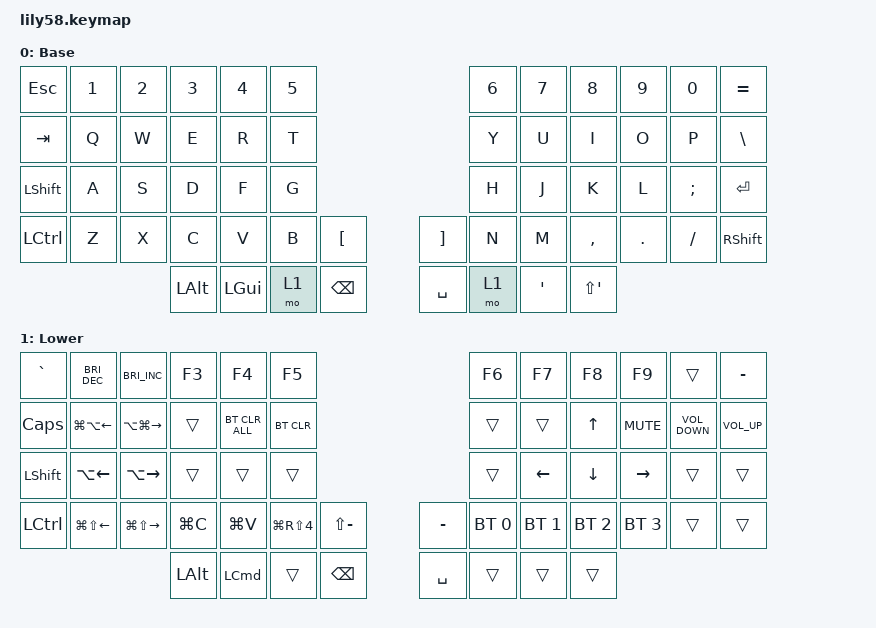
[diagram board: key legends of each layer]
/*
 * Copyright (c) 2020 The ZMK Contributors
 *
 * SPDX-License-Identifier: MIT
 */

#include <behaviors.dtsi>
#include <dt-bindings/zmk/bt.h>
#include <dt-bindings/zmk/keys.h>

/ {
    keymap {
        compatible = "zmk,keymap";

        default_layer {
            // ------------------------------------------------------------------------------------------------------------
            // |  ESC  |  1  |  2  |  3   |  4   |  5   |                   |  6   |  7    |  8    |  9   |   0   |   `   |
            // |  TAB  |  Q  |  W  |  E   |  R   |  T   |                   |  Y   |  U    |  I    |  O   |   P   |   -   |
            // |  CTRL |  A  |  S  |  D   |  F   |  G   |                   |  H   |  J    |  K    |  L   |   ;   |   '   |
            // | SHIFT |  Z  |  X  |  C   |  V   |  B   |   "["  |  |  "]"  |  N   |  M    |  ,    |  .   |   /   | SHIFT |
            //                     | ALT  | GUI  | LOWER|  SPACE |  | ENTER | RAISE| BSPC  | GUI   |

            display-name = "Base";
            bindings = <
&kp ESC           &kp N1  &kp N2  &kp N3    &kp N4    &kp N5                                         &kp N6  &kp N7   &kp N8       &kp N9   &kp N0    &kp EQUAL
&kp TAB           &kp Q   &kp W   &kp E     &kp R     &kp T                                          &kp Y   &kp U    &kp I        &kp O    &kp P     &kp BACKSLASH
&kp LEFT_SHIFT    &kp A   &kp S   &kp D     &kp F     &kp G                                          &kp H   &kp J    &kp K        &kp L    &kp SEMI  &kp RET
&kp LEFT_CONTROL  &kp Z   &kp X   &kp C     &kp V     &kp B   &kp LEFT_BRACKET    &kp RIGHT_BRACKET  &kp N   &kp M    &kp COMMA    &kp DOT  &kp FSLH  &kp RSHFT
                                  &kp LALT  &kp LGUI  &mo 1   &kp BACKSPACE       &kp SPACE          &mo 1   &kp SQT  &kp LS(SQT)
            >;
        };

        lower_layer {
            // ------------------------------------------------------------------------------------------------------------
            // | BTCLR | BT1 | BT2 |  BT3 |  BT4 |  BT5 |                   |      |       |       |      |       |       |
            // |  F1   |  F2 |  F3 |  F4  |  F5  |  F6  |                   |  F7  |  F8   |  F9   |  F10 |  F11  |  F12  |
            // |   `   |  !  |  @  |  #   |  $   |  %   |                   |  ^   |  &    |  *    |  (   |   )   |   ~   |
            // |       |     |     |      |      |      |        |  |       |      |  _    |  +    |  {   |   }   |  "|"  |
            //                     |      |      |      |        |  |       |      |       |       |

            display-name = "Lower";
            bindings = <
&kp GRAVE         &kp C_BRIGHTNESS_DEC    &kp C_BRIGHTNESS_INC     &kp F3        &kp F4            &kp F5                                            &kp F6        &kp F7          &kp F8          &kp F9        &trans             &kp MINUS
&kp CAPS          &kp LG(LA(LEFT_ARROW))  &kp LA(LG(RIGHT))        &trans        &bt BT_CLR_ALL    &bt BT_CLR                                        &trans        &trans          &kp UP_ARROW    &kp K_MUTE    &kp C_VOLUME_DOWN  &kp C_VOLUME_UP
&kp LEFT_SHIFT    &kp LA(LEFT_ARROW)      &kp LA(RIGHT_ARROW)      &trans        &trans            &trans                                            &trans        &kp LEFT_ARROW  &kp DOWN_ARROW  &kp RIGHT     &trans             &trans
&kp LEFT_CONTROL  &kp LG(LS(LEFT_ARROW))  &kp LG(LS(RIGHT_ARROW))  &kp LG(C)     &kp LG(V)         &kp LG(RS(NUMBER_4))  &kp LS(MINUS)    &kp MINUS  &bt BT_SEL 0  &bt BT_SEL 1    &bt BT_SEL 2    &bt BT_SEL 3  &trans             &trans
                                                                   &kp LEFT_ALT  &kp LEFT_COMMAND  &trans                &kp BACKSPACE    &kp SPACE  &trans        &trans          &trans
            >;
        };
    };
};
